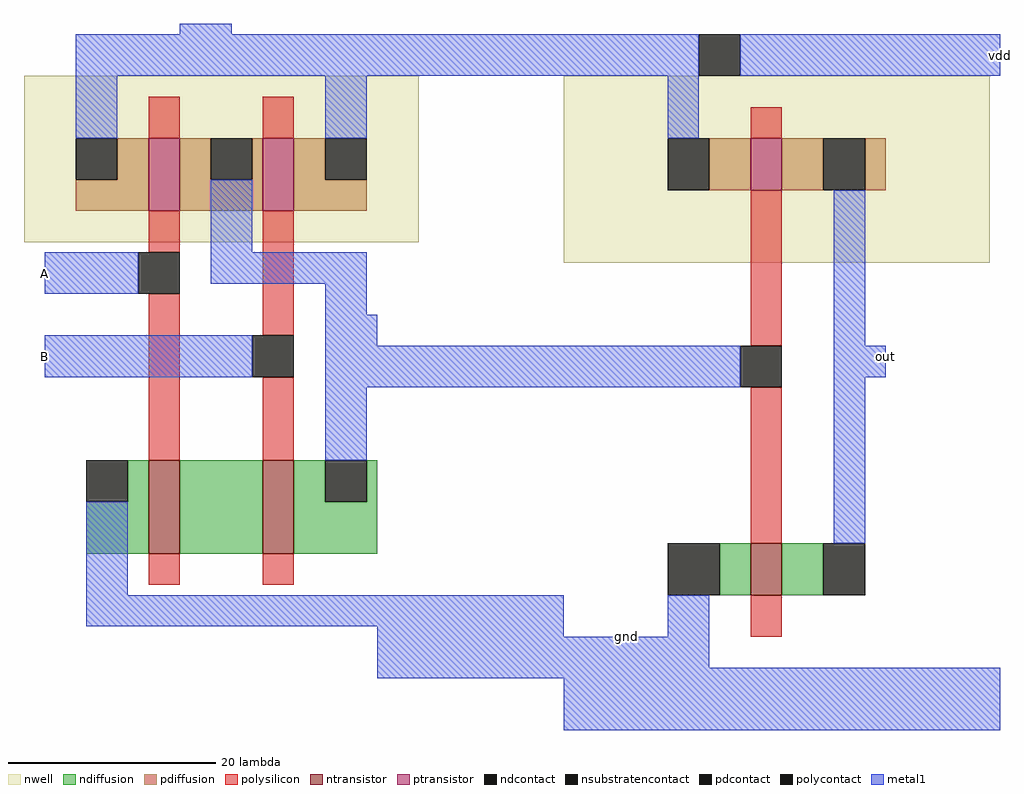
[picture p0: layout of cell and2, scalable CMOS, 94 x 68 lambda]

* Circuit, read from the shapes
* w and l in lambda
.subckt and2 A B gnd out vdd
M1 n1 A gnd VSUBS nfet w=9 l=3
M2 not_0/A B n1 VSUBS nfet w=9 l=3
M3 out not_0/A gnd VSUBS nfet w=5 l=3
M4 not_0/A A vdd n2 pfet w=7 l=3
M5 vdd B not_0/A n2 pfet w=7 l=3
M6 out not_0/A vdd n3 pfet w=5 l=3
.ends

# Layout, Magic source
magic
tech scmos
<< metal1 >>
rect -20 63 1 67
rect 41 63 42 67
rect -50 42 -44 46
rect -50 34 -45 38
rect -20 37 -19 38
rect -20 33 16 37
rect 28 35 31 37
rect 29 34 31 35
rect -18 9 0 13
rect -18 8 10 9
rect -18 5 12 8
use nand2  nand2_0
transform 1 0 -45 0 1 33
box -7 -23 31 35
use not  not_0
transform 1 0 21 0 1 34
box -21 -34 21 33
<< labels >>
rlabel metal1 -50 44 -50 44 3 A
rlabel metal1 -50 36 -50 36 3 B
rlabel metal1 42 65 42 65 6 vdd
rlabel metal1 6 9 6 9 1 gnd
rlabel metal1 31 36 31 36 1 out
<< end >>

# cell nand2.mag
magic
tech scmos
<< nwell >>
rect -7 14 31 30
<< polysilicon >>
rect 5 24 8 28
rect 16 24 19 28
rect 5 13 8 17
rect 5 -7 8 9
rect 16 5 19 17
rect 16 -7 19 1
rect 5 -19 8 -16
rect 16 -19 19 -16
<< ndiffusion >>
rect 3 -11 5 -7
rect -1 -16 5 -11
rect 8 -16 16 -7
rect 19 -11 22 -7
rect 26 -11 27 -7
rect 19 -16 27 -11
<< pdiffusion >>
rect 2 20 5 24
rect -2 17 5 20
rect 8 20 11 24
rect 15 20 16 24
rect 8 17 16 20
rect 19 20 22 24
rect 19 17 26 20
<< metal1 >>
rect 8 34 13 35
rect -2 30 26 34
rect -2 24 2 30
rect 22 24 26 30
rect 11 13 15 20
rect -1 9 4 13
rect 11 10 26 13
rect 22 7 26 10
rect -1 1 15 5
rect 22 3 27 7
rect 22 -7 26 3
rect -1 -20 3 -11
rect -1 -23 28 -20
<< ntransistor >>
rect 5 -16 8 -7
rect 16 -16 19 -7
<< ptransistor >>
rect 5 17 8 24
rect 16 17 19 24
<< polycontact >>
rect 4 9 8 13
rect 15 1 19 5
<< ndcontact >>
rect -1 -11 3 -7
rect 22 -11 26 -7
<< pdcontact >>
rect -2 20 2 24
rect 11 20 15 24
rect 22 20 26 24
<< labels >>
rlabel metal1 -1 11 -1 11 1 A
rlabel metal1 -1 3 -1 3 1 B
rlabel metal1 27 5 27 5 7 out
rlabel metal1 10 35 10 35 5 vdd
rlabel metal1 28 -21 28 -21 8 gnd
<< end >>

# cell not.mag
magic
tech scmos
<< nwell >>
rect -21 11 20 29
<< polysilicon >>
rect -3 23 0 26
rect -3 3 0 18
rect -3 -16 0 -1
rect -3 -25 0 -21
<< ndiffusion >>
rect -6 -21 -3 -16
rect 0 -21 4 -16
<< pdiffusion >>
rect -7 18 -3 23
rect 0 18 4 23
rect 8 18 10 23
<< metal1 >>
rect -21 29 -8 33
rect -4 29 20 33
rect -11 23 -8 29
rect -6 -1 -4 3
rect 5 -16 8 18
rect -11 -28 -7 -21
rect -21 -34 21 -28
<< ntransistor >>
rect -3 -21 0 -16
<< ptransistor >>
rect -3 18 0 23
<< polycontact >>
rect -4 -1 0 3
<< ndcontact >>
rect -11 -21 -6 -16
rect 4 -21 8 -16
<< pdcontact >>
rect -11 18 -7 23
rect 4 18 8 23
<< nsubstratencontact >>
rect -8 29 -4 33
<< labels >>
rlabel metal1 -5 1 -5 1 1 A
rlabel metal1 6 0 6 0 1 out
rlabel metal1 2 31 2 31 5 vdd
rlabel metal1 -3 -31 -3 -31 1 gnd
<< end >>
